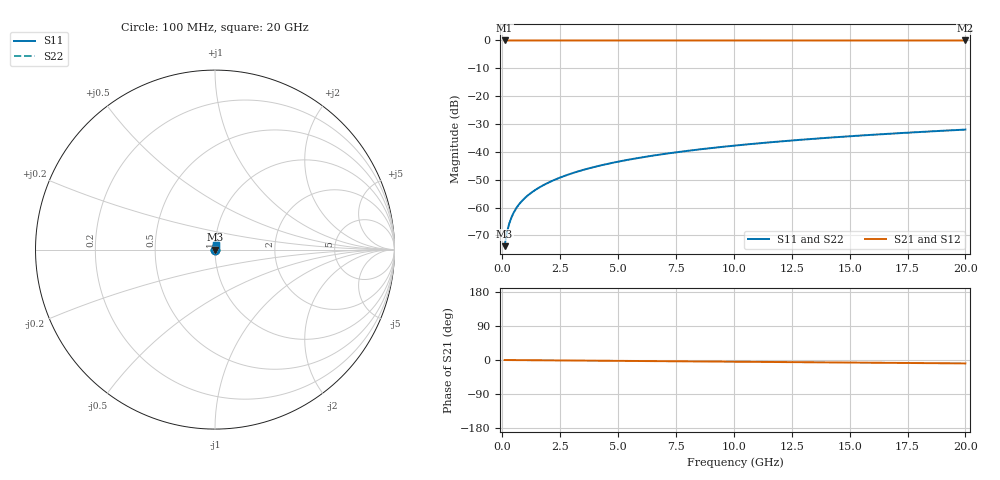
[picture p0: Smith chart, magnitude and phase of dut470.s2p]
! Touchstone file exported from HFSS 2026.1.0
!  File:  C:/ffzhzh/LocalFiles/Ansys_Project_Files/temp_train_TSV_470_1783022290_53980.aedt
!  Generated:  04:00:14 AM Jul  3, 2026
!  Design:  TSV
!  Project:  temp_train_TSV_470_1783022290_53980
! Variables:
!  h_bsmrdl = 2um
!  h_ox = 20um
!  h_rdl = 5um
!  h_sub = 86.92um
!  h_tmrdl = 5um
!  h_tsv = 86.92um
!  h_via = 3um
!  l_bsmrdl = 300um
!  l_sub = 422.38um
!  l_tmrdl = 200um
!  m_sub = 200um
!  pitch = 54.13um
!  r_tsv = 11.19um
!  s_tmrdl = 10um
!  w_bsmrdl = 18um
!  w_sub = 500um
!  w_tmrdl = 12um
!  x_tsv_center1 = 206um
!  x_tsv_center2 = 524um
!  x_tsv_center3 = 736um
!  x_tsv_center4 = 1054um
!  x_tsv_center5 = 1266um
!  x_tsv_center6 = 1584um
# GHz S MA R 50.000000
! Terminal data exported
! Port[1] = TSV1_1_T1
! Port[2] = TSV1_1_T2
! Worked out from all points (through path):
!   200 points, 100 MHz to 20 GHz, reference 50 ohm
!   highest |S21| = 0.00 dB at 100 MHz (marker M1); lowest = 0.0 dB at 20 GHz (marker M2)
!   group delay of S21, straight-line fit = 1.25 ps
!   lowest |S11| = -73.8 dB at 100 MHz (marker M3), VSWR 1.00, Z = 50 + j0.0169 ohm
!   |S11| at or under -10 dB: start of sweep to end of sweep
!   |S22| runs from -73.8 to -32.0 dB; largest |S21 - S12| = 2.2e-15
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0.1  0.0002032 56.5  0.9999 -0.0  0.9999 -0.0  0.0002032 56.5
! Gamma 0 0 0 0
! Port Impedance 50 0 50 0
0.2  0.0003583 69.6  0.9999 -0.1  0.9999 -0.1  0.0003583 69.6
0.3  0.0005178 73.9  0.9999 -0.1  0.9999 -0.1  0.0005178 73.9
0.4  0.0006738 75.7  0.9998 -0.2  0.9998 -0.2  0.0006738 75.7
0.5  0.0008249 76.6  0.9998 -0.2  0.9998 -0.2  0.0008249 76.6
0.6  0.000971 77.1  0.9998 -0.3  0.9998 -0.3  0.000971 77.1
0.7  0.001113 77.5  0.9998 -0.3  0.9998 -0.3  0.001113 77.5
0.9  0.001386 78.2  0.9997 -0.4  0.9997 -0.4  0.001386 78.2
1.1  0.001652 78.8  0.9997 -0.5  0.9997 -0.5  0.001652 78.8
1.3  0.001914 79.3  0.9997 -0.6  0.9997 -0.6  0.001914 79.3
1.6  0.002303 80.1  0.9996 -0.7  0.9996 -0.7  0.002303 80.1
1.9  0.002691 80.7  0.9996 -0.9  0.9996 -0.9  0.002691 80.7
2.6  0.003597 81.6  0.9995 -1.2  0.9995 -1.2  0.003597 81.6
3.5  0.004758 82.2  0.9995 -1.6  0.9995 -1.6  0.004758 82.2
4.2  0.005655 82.4  0.9994 -1.9  0.9994 -1.9  0.005655 82.4
5  0.006674 82.4  0.9994 -2.3  0.9994 -2.3  0.006674 82.4
6.8  0.008944 82.3  0.9992 -3.1  0.9992 -3.1  0.008944 82.3
8.3  0.01082 82.0  0.9991 -3.7  0.9991 -3.7  0.01082 82.0
10.1  0.01305 81.6  0.999 -4.6  0.999 -4.6  0.01305 81.6
13.4  0.01712 80.6  0.9988 -6.0  0.9988 -6.0  0.01712 80.6
16.7  0.02115 79.4  0.9987 -7.5  0.9987 -7.5  0.02115 79.4
20  0.02513 78.2  0.9984 -9.0  0.9984 -9.0  0.02513 78.2
